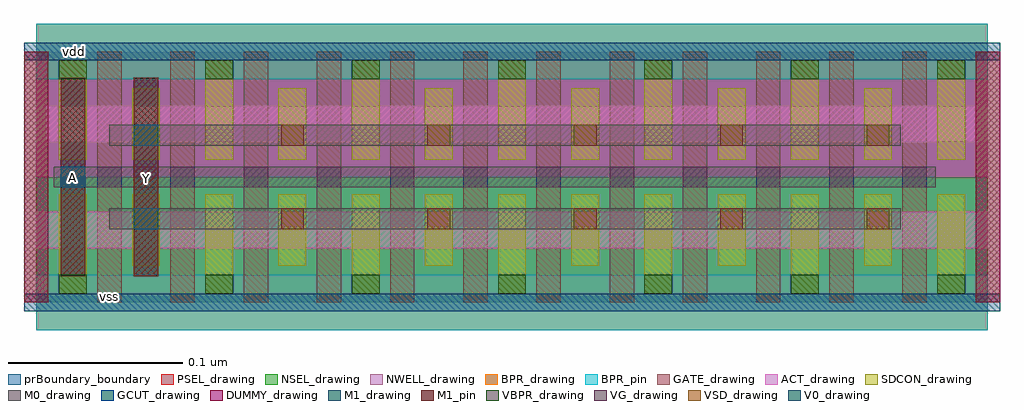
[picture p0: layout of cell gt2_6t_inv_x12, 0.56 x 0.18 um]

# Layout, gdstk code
import gdstk
lib = gdstk.Library(unit=1e-6, precision=5e-10)
def R(c, l, rs):  # rectangles x0, y0, x1, y1
    for r in rs: c.add(gdstk.rectangle(r[:2], r[2:], *l))
def A(c, l, x, y, w, h, nx, ny, dx, dy):  # array of equal rectangles
    R(c, l, [(x+i*dx, y+j*dy, x+i*dx+w, y+j*dy+h) for i in range(nx) for j in range(ny)])
NWELL_drawing = (1, 0)
ACT_drawing = (2, 0)
GATE_drawing = (3, 0)
DUMMY_drawing = (4, 0)
GCUT_drawing = (5, 0)
NSEL_drawing = (6, 0)
PSEL_drawing = (7, 0)
BPR_drawing = (8, 0)
BPR_pin = (8, 251)
VBPR_drawing = (9, 0)
SDCON_drawing = (10, 0)
VSD_drawing = (11, 0)
VG_drawing = (12, 0)
M0_drawing = (20, 0)
V0_drawing = (22, 0)
M1_drawing = (25, 0)
M1_pin = (25, 251)
prBoundary_boundary = (235, 250)

gt2_6t_inv_x12 = lib.new_cell('gt2_6t_inv_x12')
R(gt2_6t_inv_x12, NWELL_drawing, [(0,0.072,0.546,0.144)])
R(gt2_6t_inv_x12, ACT_drawing, [(0,0.031,0.546,0.052), (0,0.092,0.546,0.113)])
A(gt2_6t_inv_x12, GATE_drawing, -0.007, 0, 0.014, 0.144, 14, 1, 0.042, 0)
R(gt2_6t_inv_x12, DUMMY_drawing, [(-0.007,0,0.007,0.144), (0.539,0,0.553,0.144)])
R(gt2_6t_inv_x12, GCUT_drawing, [(-0.007,-0.005,0.553,0.005), (-0.007,0.139,0.553,0.149)])
R(gt2_6t_inv_x12, NSEL_drawing, [(0,0,0.546,0.072)])
R(gt2_6t_inv_x12, PSEL_drawing, [(0,0.072,0.546,0.144)])
R(gt2_6t_inv_x12, BPR_drawing, [(0,-0.016,0.546,0.016), (0,0.128,0.546,0.16)])
R(gt2_6t_inv_x12, BPR_pin, [(0,-0.016,0.546,0.016), (0,0.128,0.546,0.16)])
A(gt2_6t_inv_x12, VBPR_drawing, 0.013, 0.005, 0.016, 0.011, 7, 2, 0.084, 0.123)
A(gt2_6t_inv_x12, SDCON_drawing, 0.013, 0.005, 0.016, 0.057, 7, 2, 0.084, 0.077)
A(gt2_6t_inv_x12, SDCON_drawing, 0.055, 0.021, 0.016, 0.041, 6, 2, 0.084, 0.061)
A(gt2_6t_inv_x12, VSD_drawing, 0.0565, 0.042, 0.013, 0.012, 6, 2, 0.084, 0.048)
A(gt2_6t_inv_x12, VG_drawing, 0.035, 0.066, 0.014, 0.012, 12, 1, 0.042, 0)
R(gt2_6t_inv_x12, M0_drawing, [(0.042,0.042,0.496,0.054), (0.01,0.066,0.516,0.078), (0.042,0.09,0.496,0.102)])
R(gt2_6t_inv_x12, V0_drawing, [(0.056,0.042,0.07,0.054), (0.014,0.066,0.028,0.078), (0.056,0.09,0.07,0.102)])
R(gt2_6t_inv_x12, M1_drawing, [(0.014,0.015,0.028,0.129), (0.056,0.015,0.07,0.129)])
R(gt2_6t_inv_x12, M1_pin, [(0.014,0.015,0.028,0.129), (0.056,0.015,0.07,0.129)])
R(gt2_6t_inv_x12, prBoundary_boundary, [(0,0,0.546,0.144)])
gt2_6t_inv_x12.add(gdstk.Label('vss', (0.042,0.0035), layer=8, texttype=251))
gt2_6t_inv_x12.add(gdstk.Label('vdd', (0.022,0.144), layer=8, texttype=251))
gt2_6t_inv_x12.add(gdstk.Label('Y', (0.063,0.071), layer=25, texttype=251))
gt2_6t_inv_x12.add(gdstk.Label('A', (0.021,0.0715), layer=25, texttype=251))

lib.write_gds('gt2_6t_inv_x12.gds')
